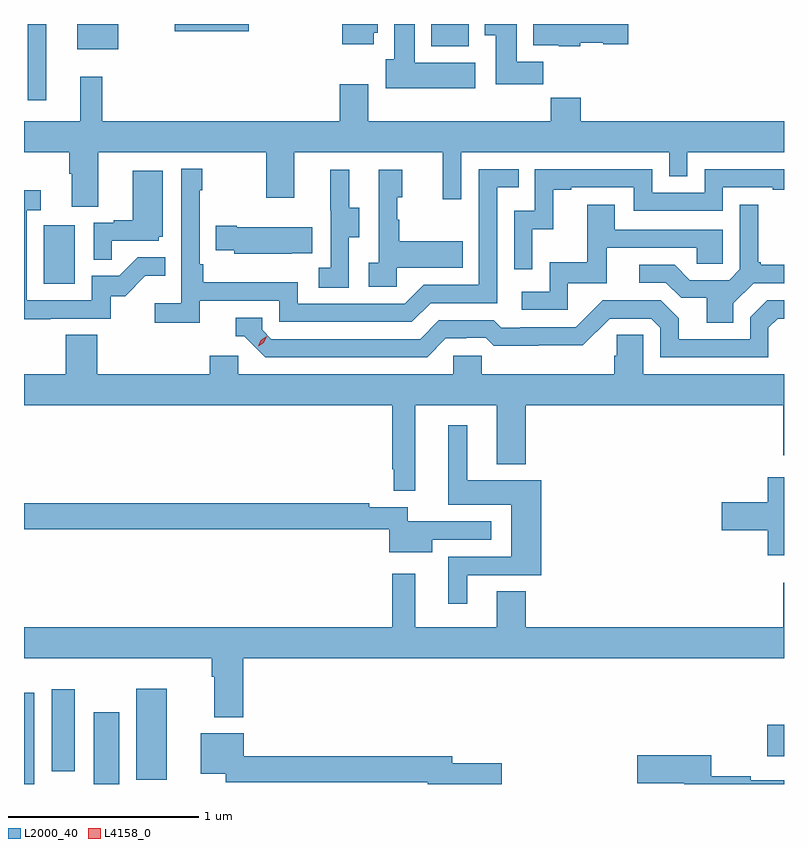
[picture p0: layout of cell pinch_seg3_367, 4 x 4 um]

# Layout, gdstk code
import gdstk
lib = gdstk.Library(unit=1e-6, precision=1e-09)
def R(c, l, rs):  # rectangles x0, y0, x1, y1
    for r in rs: c.add(gdstk.rectangle(r[:2], r[2:], *l))
def P(c, l, *ps):  # polygons
    for p in ps: c.add(gdstk.Polygon(p, *l))
L2000_40 = (2000, 40)
L4158_0 = (4158, 0)

pinch_seg3_367 = lib.new_cell('pinch_seg3_367')
R(pinch_seg3_367, L2000_40, [(1010.148,698.923,1010.202,699.403), (1010.516,698.923,1010.65,699.301), (1010.738,698.946,1010.899,699.424), (1010.294,698.991,1010.416,699.421), (1014.06,699.068,1014.148,699.234), (1010.252,701.556,1010.416,701.863), (1010.169,702.522,1010.266,702.923), (1010.429,702.791,1010.644,702.923), (1012.292,702.806,1012.489,702.923), (1010.942,702.886,1011.331,702.923)])
P(pinch_seg3_367, L2000_40, [(1013.076,702.824),(1013.196,702.824),(1013.196,702.817),(1013.329,702.817),(1013.329,702.923),(1012.829,702.923),(1012.829,702.812),(1012.962,702.812),(1012.962,702.806),(1013.076,702.806)],
  [(1012.88,702.724),(1012.741,702.724),(1012.741,702.923),(1012.574,702.923),(1012.574,702.865),(1012.631,702.865),(1012.631,702.606),(1012.88,702.606)],
  [(1012.522,702.718),(1012.204,702.718),(1012.204,702.923),(1012.097,702.923),(1012.097,702.738),(1012.052,702.738),(1012.052,702.584),(1012.522,702.584)],
  [(1011.988,702.876),(1012.009,702.876),(1012.009,702.923),(1011.823,702.923),(1011.823,702.816),(1011.988,702.816)],
  [(1010.539,702.248),(1011.424,702.248),(1011.424,702.009),(1011.571,702.009),(1011.571,702.248),(1012.352,702.248),(1012.352,702),(1012.449,702),(1012.449,702.248),(1013.544,702.248),(1013.544,702.121),(1013.64,702.121),(1013.64,702.248),(1014.148,702.248),(1014.148,702.412),(1013.078,702.412),(1013.078,702.536),(1012.921,702.536),(1012.921,702.412),(1011.961,702.412),(1011.961,702.607),(1011.809,702.607),(1011.809,702.412),(1010.561,702.412),(1010.561,702.646),(1010.444,702.646),(1010.444,702.412),(1010.148,702.412),(1010.148,702.248),(1010.387,702.248),(1010.387,702.136),(1010.399,702.136),(1010.399,701.962),(1010.539,701.962)],
  [(1011.074,701.466),(1011.492,701.466),(1011.492,701.355),(1012.189,701.355),(1012.288,701.454),(1012.638,701.454),(1012.638,702.063),(1012.751,702.063),(1012.751,702.159),(1012.542,702.159),(1012.542,701.55),(1012.251,701.55),(1012.152,701.451),(1011.588,701.451),(1011.588,701.563),(1011.092,701.563),(1011.092,701.659),(1011.072,701.659),(1011.072,702.047),(1011.085,702.047),(1011.085,702.16),(1010.976,702.16),(1010.976,701.452),(1010.835,701.452),(1010.835,701.35),(1011.074,701.35)],
  [(1012.824,701.843),(1012.934,701.843),(1012.934,702.051),(1013.029,702.051),(1013.029,702.063),(1013.358,702.063),(1013.358,701.94),(1013.826,701.94),(1013.826,702.063),(1014.089,702.063),(1014.089,702.051),(1014.148,702.051),(1014.148,702.159),(1013.73,702.159),(1013.73,702.036),(1013.454,702.036),(1013.454,702.159),(1012.836,702.159),(1012.836,701.94),(1012.728,701.94),(1012.728,701.631),(1012.824,701.631)],
  [(1011.858,701.8),(1011.913,701.8),(1011.913,701.955),(1011.859,701.955),(1011.859,702.157),(1011.761,702.157),(1011.761,701.943),(1011.762,701.943),(1011.762,701.639),(1011.699,701.639),(1011.699,701.536),(1011.858,701.536)],
  [(1012.11,701.639),(1012.457,701.639),(1012.457,701.779),(1012.123,701.779),(1012.123,701.894),(1012.113,701.894),(1012.113,702.012),(1012.138,702.012),(1012.138,702.157),(1012.014,702.157),(1012.014,701.666),(1011.963,701.666),(1011.963,701.541),(1012.11,701.541)],
  [(1010.609,701.781),(1010.856,701.781),(1010.856,701.802),(1010.878,701.802),(1010.878,702.151),(1010.72,702.151),(1010.72,701.89),(1010.621,701.89),(1010.621,701.877),(1010.514,701.877),(1010.514,701.683),(1010.609,701.683)],
  [(1010.285,701.373),(1010.604,701.373),(1010.604,701.49),(1010.68,701.49),(1010.787,701.597),(1010.891,701.597),(1010.891,701.696),(1010.747,701.696),(1010.649,701.598),(1010.505,701.598),(1010.505,701.469),(1010.163,701.469),(1010.163,701.943),(1010.236,701.943),(1010.236,702.049),(1010.148,702.049),(1010.148,701.368),(1010.285,701.368)],
  [(1013.881,701.452),(1013.988,701.559),(1014.148,701.559),(1014.148,701.656),(1014.025,701.656),(1014.025,701.668),(1014.013,701.668),(1014.013,701.971),(1013.916,701.971),(1013.916,701.631),(1013.859,701.574),(1013.653,701.574),(1013.572,701.655),(1013.385,701.655),(1013.385,701.562),(1013.526,701.562),(1013.606,701.482),(1013.741,701.482),(1013.741,701.35),(1013.881,701.35)],
  [(1013.01,701.559),(1013.215,701.559),(1013.215,701.745),(1013.689,701.745),(1013.689,701.661),(1013.826,701.661),(1013.826,701.841),(1013.257,701.841),(1013.257,701.971),(1013.113,701.971),(1013.113,701.668),(1012.914,701.668),(1012.914,701.514),(1012.767,701.514),(1012.767,701.418),(1013.01,701.418)],
  [(1011.557,701.717),(1011.665,701.717),(1011.665,701.854),(1011.268,701.854),(1011.268,701.862),(1011.157,701.862),(1011.157,701.732),(1011.255,701.732),(1011.255,701.714),(1011.557,701.714)],
  [(1012.369,701.268),(1012.476,701.268),(1012.476,701.271),(1012.579,701.271),(1012.621,701.229),(1012.854,701.229),(1012.854,701.231),(1013.09,701.231),(1013.232,701.373),(1013.448,701.373),(1013.496,701.325),(1013.496,701.169),(1014.066,701.169),(1014.066,701.325),(1014.114,701.373),(1014.148,701.373),(1014.148,701.469),(1014.06,701.469),(1013.97,701.379),(1013.97,701.265),(1013.593,701.265),(1013.593,701.375),(1013.499,701.469),(1013.193,701.469),(1013.052,701.328),(1012.759,701.328),(1012.759,701.325),(1012.66,701.325),(1012.621,701.364),(1012.332,701.364),(1012.233,701.265),(1011.45,701.265),(1011.402,701.313),(1011.402,701.376),(1011.263,701.376),(1011.263,701.28),(1011.306,701.28),(1011.417,701.169),(1012.27,701.169)],
  [(1011.276,701.178),(1011.125,701.178),(1011.125,701.08),(1010.534,701.08),(1010.534,701.288),(1010.369,701.288),(1010.369,701.08),(1010.148,701.08),(1010.148,700.916),(1012.086,700.916),(1012.086,700.579),(1012.094,700.579),(1012.094,700.467),(1012.207,700.467),(1012.207,700.916),(1012.637,700.916),(1012.637,700.607),(1012.79,700.607),(1012.79,700.916),(1014.145,700.916),(1014.145,700.653),(1014.148,700.653),(1014.148,701.08),(1013.406,701.08),(1013.406,701.288),(1013.269,701.288),(1013.269,701.178),(1013.255,701.178),(1013.255,701.08),(1012.557,701.08),(1012.557,701.178),(1012.407,701.178),(1012.407,701.08),(1011.276,701.08)],
  [(1012.48,700.023),(1012.871,700.023),(1012.871,700.522),(1012.48,700.522),(1012.48,700.81),(1012.382,700.81),(1012.382,700.394),(1012.712,700.394),(1012.712,700.119),(1012.382,700.119),(1012.382,699.873),(1012.48,699.873)],
  [(1014.148,700.537),(1014.062,700.537),(1014.062,700.406),(1013.82,700.406),(1013.82,700.259),(1014.062,700.259),(1014.062,700.127),(1014.148,700.127)],
  [(1012.297,700.209),(1012.606,700.209),(1012.606,700.305),(1012.167,700.305),(1012.167,700.38),(1011.964,700.38),(1011.964,700.4),(1010.148,700.4),(1010.148,700.264),(1012.071,700.264),(1012.071,700.142),(1012.297,700.142)],
  [(1011.302,699.584),(1014.148,699.584),(1014.148,699.982),(1014.145,699.982),(1014.145,699.748),(1012.79,699.748),(1012.79,699.938),(1012.637,699.938),(1012.637,699.748),(1012.207,699.748),(1012.207,700.03),(1012.086,700.03),(1012.086,699.748),(1010.148,699.748),(1010.148,699.584),(1011.137,699.584),(1011.137,699.488),(1011.149,699.488),(1011.149,699.275),(1011.302,699.275)],
  [(1012.663,699.032),(1012.402,699.032),(1012.402,699.068),(1011.304,699.068),(1011.304,699.19),(1011.077,699.19),(1011.077,698.978),(1011.21,698.978),(1011.21,698.932),(1012.274,698.932),(1012.274,698.923),(1012.663,698.923)],
  [(1014.148,698.943),(1013.972,698.943),(1013.972,698.963),(1013.764,698.963),(1013.764,699.074),(1013.376,699.074),(1013.376,698.927),(1013.624,698.927),(1013.624,698.923),(1014.148,698.923)])
P(pinch_seg3_367, L4158_0, [(1011.38,701.226),(1011.38,701.226),(1011.395,701.259),(1011.425,701.279),(1011.426,701.279),(1011.426,701.279),(1011.411,701.246),(1011.38,701.226)])

lib.write_gds('pinch_seg3_367.gds')
